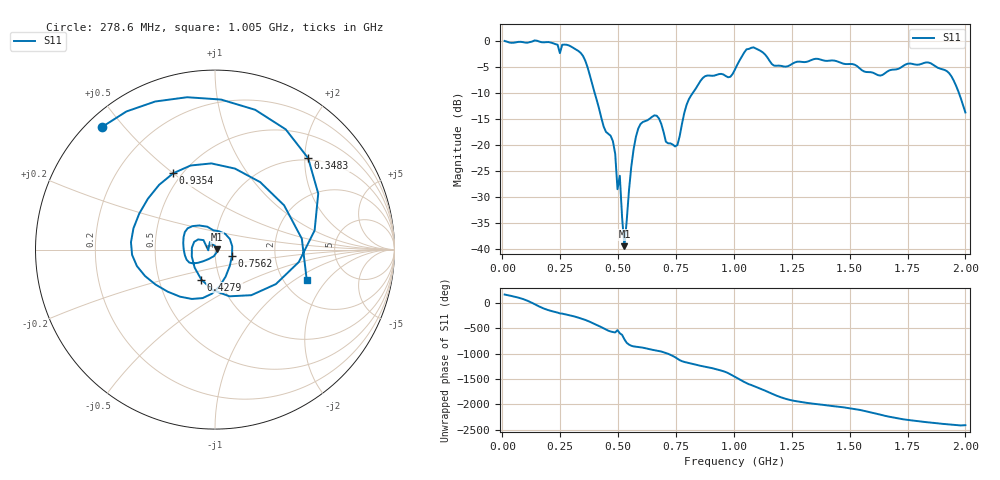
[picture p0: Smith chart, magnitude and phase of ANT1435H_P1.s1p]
!Created with skrf (http://scikit-rf.org).
# Hz S RI R 50.0
!freq ReS11 ImS11
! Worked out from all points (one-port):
!   201 points, 10 MHz to 2 GHz, reference 50 ohm
!   lowest |S11| = -39.4 dB at 527.4 MHz (marker M1), VSWR 1.02, Z = 51.1 + j0.0812 ohm
!   |S11| at or under -10 dB: 399.6 MHz to 821.4 MHz (421.9 MHz wide, 69.1 % of centre); 1.973 GHz to end of sweep
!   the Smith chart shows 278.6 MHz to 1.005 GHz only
!   S11 on the Smith chart (normalised r, x): 278.6 MHz: 0.04, +0.44; 348.3 MHz: 0.96, +2.07; 427.9 MHz: 0.81, -0.28; 756.2 MHz: 1.21, -0.08; 935.4 MHz: 0.45, +0.50; 1.005 GHz: 2.65, -1.26
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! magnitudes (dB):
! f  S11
! 10 MHz  0.1
! 248.8 MHz  -2.2
! 258.8 MHz  -0.6
! 278.6 MHz  -0.6
! 348.3 MHz  -2.8
! 427.9 MHz  -14.7
! 477.6 MHz  -19.2
! 487.6 MHz  -21.6
! 497.6 MHz  -28.4
! 507.5 MHz  -25.9
! 527.4 MHz  -39.4
! 557.2 MHz  -24.0
! 597 MHz  -15.9
! 666.7 MHz  -14.3
! 706.5 MHz  -19.3
! 756.2 MHz  -19.9
! 806 MHz  -11.1
! 865.7 MHz  -7.0
! 935.4 MHz  -6.3
! 1.005 GHz  -5.4
! 1.085 GHz  -1.1
! 1.174 GHz  -4.7
! 1.254 GHz  -4.3
! 1.502 GHz  -4.3
! 1.632 GHz  -6.6
! 1.751 GHz  -4.3
! 1.92 GHz  -5.7
! 2 GHz  -13.7
